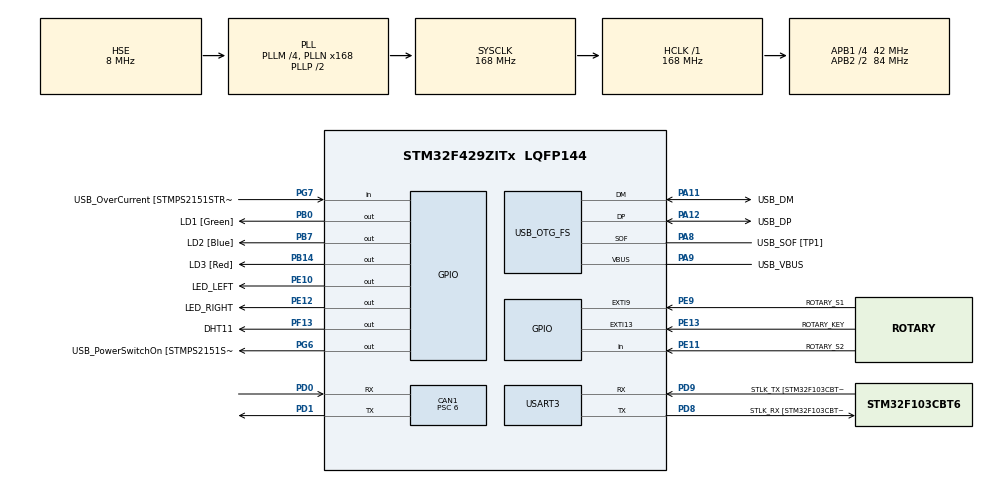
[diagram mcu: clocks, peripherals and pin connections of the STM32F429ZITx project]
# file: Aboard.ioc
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CAN1.ABOM=ENABLE
CAN1.BS1=CAN_BS1_11TQ
CAN1.BS2=CAN_BS2_2TQ
CAN1.CalculateBaudRate=500000
CAN1.CalculateTimeBit=2000
CAN1.CalculateTimeQuantum=142.85714285714286
CAN1.NART=ENABLE
CAN1.Prescaler=6
FREERTOS.Queues01=myCanQueue,16,uint8_t,0,Dynamic,NULL,NULL
FREERTOS.Tasks01=defaultTask,24,128,StartDefaultTask,Default,NULL,Dynamic,NULL,NULL;DhtTask,24,256,StartDhtTask,Default,NULL,Dynamic,NULL,NULL;RotaryTask,24,256,StartRotaryTask,Default,NULL,Dynamic,NULL,NULL;CanTask,8,256,StartCanTask,Default,NULL,Dynamic,NULL,NULL
FREERTOS.configUSE_NEWLIB_REENTRANT=1
Mcu.Family=STM32F4
Mcu.Name=STM32F429ZITx
Mcu.Package=LQFP144
NVIC.CAN1_RX0_IRQn=true\:5\:0\:false\:false\:true\:true\:true\:true\:true
NVIC.EXTI15_10_IRQn=true\:5\:0\:false\:false\:true\:true\:true\:true\:true
NVIC.EXTI9_5_IRQn=true\:5\:0\:false\:false\:true\:true\:true\:true\:true
NVIC.PriorityGroup=NVIC_PRIORITYGROUP_4
NVIC.TIM6_DAC_IRQn=true\:15\:0\:false\:false\:true\:false\:false\:true\:true
NVIC.TimeBase=TIM6_DAC_IRQn
NVIC.TimeBaseIP=TIM6
PA1.GPIO_Label=RMII_REF_CLK [LAN8742A-CZ-TR_REFCLK0]
PA1.Signal=ETH_REF_CLK
PA10.GPIO_Label=USB_ID
PA10.Signal=USB_OTG_FS_ID
PA11.GPIO_Label=USB_DM
PA11.Mode=Device_Only
PA11.Signal=USB_OTG_FS_DM
PA12.GPIO_Label=USB_DP
PA12.Mode=Device_Only
PA12.Signal=USB_OTG_FS_DP
PA13.GPIO_Label=TMS
PA13.Mode=Serial_Wire
PA13.Signal=SYS_JTMS-SWDIO
PA14.GPIO_Label=TCK
PA14.Mode=Serial_Wire
PA14.Signal=SYS_JTCK-SWCLK
PA2.GPIO_Label=RMII_MDIO [LAN8742A-CZ-TR_MDIO]
PA2.Signal=ETH_MDIO
PA7.GPIO_Label=RMII_CRS_DV [LAN8742A-CZ-TR_CRS_DV]
PA7.Signal=ETH_CRS_DV
PA8.GPIO_Label=USB_SOF [TP1]
PA8.Mode=Activate_SOF_FS
PA8.Signal=USB_OTG_FS_SOF
PA9.GPIO_Label=USB_VBUS
PA9.Mode=Activate_VBUS
PA9.Signal=USB_OTG_FS_VBUS
PB0.GPIO_Label=LD1 [Green]
PB0.Signal=GPIO_Output
PB13.GPIO_Label=RMII_TXD1 [LAN8742A-CZ-TR_TXD1]
PB13.Signal=ETH_TXD1
PB14.GPIO_Label=LD3 [Red]
PB14.Signal=GPIO_Output
PB7.GPIO_Label=LD2 [Blue]
PB7.Signal=GPIO_Output
PC1.GPIO_Label=RMII_MDC [LAN8742A-CZ-TR_MDC]
PC1.Signal=ETH_MDC
PC14/OSC32_IN.Mode=LSE-External-Oscillator
PC14/OSC32_IN.Signal=RCC_OSC32_IN
PC15/OSC32_OUT.Mode=LSE-External-Oscillator
PC15/OSC32_OUT.Signal=RCC_OSC32_OUT
PC4.GPIO_Label=RMII_RXD0 [LAN8742A-CZ-TR_RXD0]
PC4.Signal=ETH_RXD0
PC5.GPIO_Label=RMII_RXD1 [LAN8742A-CZ-TR_RXD1]
PC5.Signal=ETH_RXD1
PD0.Mode=CAN_Activate
PD0.Signal=CAN1_RX
PD1.Mode=CAN_Activate
PD1.Signal=CAN1_TX
PD8.GPIO_Label=STLK_RX [STM32F103CBT6_PA3]
PD8.Mode=Asynchronous
PD8.Signal=USART3_TX
PD9.GPIO_Label=STLK_TX [STM32F103CBT6_PA2]
PD9.Mode=Asynchronous
PD9.Signal=USART3_RX
PE10.GPIO_Label=LED_LEFT
PE10.Signal=GPIO_Output
PE11.GPIO_Label=ROTARY_S2
PE11.GPIO_PuPd=GPIO_PULLUP
PE11.Signal=GPIO_Input
PE12.GPIO_Label=LED_RIGHT
PE12.Signal=GPIO_Output
PE13.GPIO_Label=ROTARY_KEY
PE13.GPIO_ModeDefaultEXTI=GPIO_MODE_IT_FALLING
PE13.GPIO_PuPd=GPIO_PULLUP
PE13.Signal=GPXTI13
PE9.GPIO_Label=ROTARY_S1
PE9.GPIO_ModeDefaultEXTI=GPIO_MODE_IT_FALLING
PE9.GPIO_PuPd=GPIO_PULLUP
PE9.Signal=GPXTI9
PF13.GPIO_Label=DHT11
PF13.PinState=GPIO_PIN_SET
PF13.Signal=GPIO_Output
PG11.GPIO_Label=RMII_TX_EN [LAN8742A-CZ-TR_TXEN]
PG11.Signal=ETH_TX_EN
PG13.GPIO_Label=RMII_TXD0 [LAN8742A-CZ-TR_TXD0]
PG13.Signal=ETH_TXD0
PG6.GPIO_Label=USB_PowerSwitchOn [STMPS2151STR_EN]
PG6.Signal=GPIO_Output
PG7.GPIO_Label=USB_OverCurrent [STMPS2151STR_FAULT]
PG7.Signal=GPIO_Input
PH0/OSC_IN.GPIO_Label=MCO [STM32F103CBT6_PA8]
PH0/OSC_IN.Mode=HSE-External-Clock-Source
PH0/OSC_IN.Signal=RCC_OSC_IN
PH1/OSC_OUT.Mode=HSE-External-Clock-Source
PH1/OSC_OUT.Signal=RCC_OSC_OUT
ProjectManager.HeapSize=0x200
ProjectManager.StackSize=0x400
ProjectManager.TargetToolchain=STM32CubeIDE
RCC.48MHZClocksFreq_Value=48000000
RCC.AHBFreq_Value=168000000
RCC.APB1CLKDivider=RCC_HCLK_DIV4
RCC.APB1Freq_Value=42000000
RCC.APB1TimFreq_Value=84000000
RCC.APB2CLKDivider=RCC_HCLK_DIV2
RCC.APB2Freq_Value=84000000
RCC.APB2TimCLKDivider=2
RCC.APB2TimFreq_Value=168000000
RCC.CortexFreq_Value=168000000
RCC.HCLKFreq_Value=168000000
RCC.HSE_VALUE=8000000
RCC.HSI_VALUE=16000000
RCC.PLLM=4
RCC.PLLMUL=RCC_PLL_MUL9
RCC.PLLN=168
RCC.PLLQ=7
RCC.PRESCALERUSB=RCC_USBCLKSOURCE_PLL_DIV1_5
RCC.SYSCLKFreq_VALUE=168000000
RCC.SYSCLKSource=RCC_SYSCLKSOURCE_PLLCLK
RCC.SYSCLKSourceVirtual=RCC_SYSCLKSOURCE_PLLCLK
RCC.USBFreq_Value=48000000
RCC.VCOOutputFreq_Value=336000000
TIM11.AutoReloadPreload=TIM_AUTORELOAD_PRELOAD_ENABLE
TIM11.Prescaler=167
USART3.VirtualMode=VM_ASYNC
USB_OTG_FS.VirtualMode=Device_Only
VP_FREERTOS_VS_CMSIS_V2.Mode=CMSIS_V2
VP_SYS_VS_tim6.Mode=TIM6
VP_TIM11_VS_ClockSourceINT.Mode=Enable_Timer
board=NUCLEO-F429ZI

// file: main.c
/* USER CODE BEGIN Header */
/**
  ******************************************************************************
  * @file           : main.c
  * @brief          : Main program body
  ******************************************************************************
  * @attention
  *
  * Copyright (c) 2026 STMicroelectronics.
  * All rights reserved.
  *
  * This software is licensed under terms that can be found in the LICENSE file
  * in the root directory of this software component.
  * If no LICENSE file comes with this software, it is provided AS-IS.
  *
  ******************************************************************************
  */
/* USER CODE END Header */
#include "main.h"
#include "cmsis_os.h"

/* USER CODE BEGIN Includes */
#include <stdio.h>
#include "dht11.h"
/* USER CODE END Includes */

/* USER CODE BEGIN PD */
#define MODE_IDLE   0
#define MODE_LEFT   1
#define MODE_RIGHT  2
#define MODE_BOTH   3

#define MSG_SRC_ROTARY 1
#define MSG_SRC_DHT    2
/* USER CODE END PD */

CAN_HandleTypeDef hcan1;

TIM_HandleTypeDef htim11;

UART_HandleTypeDef huart3;

PCD_HandleTypeDef hpcd_USB_OTG_FS;

/* Definitions for defaultTask */
osThreadId_t defaultTaskHandle;
const osThreadAttr_t defaultTask_attributes = {
  .name = "defaultTask",
  .stack_size = 128 * 4,
  .priority = (osPriority_t) osPriorityNormal,
};
/* Definitions for DhtTask */
osThreadId_t DhtTaskHandle;
const osThreadAttr_t DhtTask_attributes = {
  .name = "DhtTask",
  .stack_size = 256 * 4,
  .priority = (osPriority_t) osPriorityNormal,
};
/* Definitions for RotaryTask */
osThreadId_t RotaryTaskHandle;
const osThreadAttr_t RotaryTask_attributes = {
  .name = "RotaryTask",
  .stack_size = 256 * 4,
  .priority = (osPriority_t) osPriorityNormal,
};
/* Definitions for CanTask */
osThreadId_t CanTaskHandle;
const osThreadAttr_t CanTask_attributes = {
  .name = "CanTask",
  .stack_size = 256 * 4,
  .priority = (osPriority_t) osPriorityLow,
};
/* Definitions for myCanQueue */
osMessageQueueId_t myCanQueueHandle;
const osMessageQueueAttr_t myCanQueue_attributes = {
  .name = "myCanQueue"
};
/* USER CODE BEGIN PV */
// task 간 데이터 공유
volatile uint8_t g_temp = 0;
volatile uint8_t g_humi = 0;
volatile uint8_t g_led_state = 0;

// 로터리 제어 변수
volatile uint8_t rotary_mode = MODE_IDLE;
volatile uint32_t blink_end_time = 0;
volatile uint32_t last_rotary_time = 0;
/* USER CODE END PV */

void SystemClock_Config(void);
static void MX_GPIO_Init(void);
static void MX_CAN1_Init(void);
static void MX_USART3_UART_Init(void);
static void MX_USB_OTG_FS_PCD_Init(void);
static void MX_TIM11_Init(void);
void StartDefaultTask(void *argument);
void StartDhtTask(void *argument);
void StartRotaryTask(void *argument);
void StartCanTask(void *argument);

/* USER CODE BEGIN PFP */
void CAN_Config_And_Start(void);
void CAN_Tx_Send(uint8_t temp, uint8_t humi, uint8_t led_status);
void delay_us(unsigned long us);
/* USER CODE END PFP */

/* USER CODE BEGIN 0 */
int _write(int file, char *ptr, int len)
{
  HAL_UART_Transmit(&huart3, (uint8_t *)ptr, len, 10);
  return len;
}
/* USER CODE END 0 */

int main(void)
{

  /* MCU Configuration--------------------------------------------------------*/

  /* Reset of all peripherals, Initializes the Flash interface and the Systick. */
  HAL_Init();

  /* Configure the system clock */
  SystemClock_Config();

  /* Initialize all configured peripherals */
  MX_GPIO_Init();
  MX_CAN1_Init();
  MX_USART3_UART_Init();
  MX_USB_OTG_FS_PCD_Init();
  MX_TIM11_Init();
  /* USER CODE BEGIN 2 */
  HAL_TIM_Base_Start(&htim11);

  CAN_Config_And_Start();
  /* USER CODE END 2 */

  /* Init scheduler */
  osKernelInitialize();

  /* Create the queue(s) */
  /* creation of myCanQueue */
  myCanQueueHandle = osMessageQueueNew (16, sizeof(uint8_t), &myCanQueue_attributes);

  /* Create the thread(s) */
  /* creation of defaultTask */
  defaultTaskHandle = osThreadNew(StartDefaultTask, NULL, &defaultTask_attributes);

  /* creation of DhtTask */
  DhtTaskHandle = osThreadNew(StartDhtTask, NULL, &DhtTask_attributes);

  /* creation of RotaryTask */
  RotaryTaskHandle = osThreadNew(StartRotaryTask, NULL, &RotaryTask_attributes);

  /* creation of CanTask */
  CanTaskHandle = osThreadNew(StartCanTask, NULL, &CanTask_attributes);

  /* Start scheduler */
  osKernelStart();

  /* We should never get here as control is now taken by the scheduler */

  /* Infinite loop */
  while (1)
  {

  }
}

void SystemClock_Config(void)
{
  RCC_OscInitTypeDef RCC_OscInitStruct = {0};
  RCC_ClkInitTypeDef RCC_ClkInitStruct = {0};

  /** Configure the main internal regulator output voltage
  */
  __HAL_RCC_PWR_CLK_ENABLE();
  __HAL_PWR_VOLTAGESCALING_CONFIG(PWR_REGULATOR_VOLTAGE_SCALE1);

  /** Initializes the RCC Oscillators according to the specified parameters
  * in the RCC_OscInitTypeDef structure.
  */
  RCC_OscInitStruct.OscillatorType = RCC_OSCILLATORTYPE_HSE;
  RCC_OscInitStruct.HSEState = RCC_HSE_BYPASS;
  RCC_OscInitStruct.PLL.PLLState = RCC_PLL_ON;
  RCC_OscInitStruct.PLL.PLLSource = RCC_PLLSOURCE_HSE;
  RCC_OscInitStruct.PLL.PLLM = 4;
  RCC_OscInitStruct.PLL.PLLN = 168;
  RCC_OscInitStruct.PLL.PLLP = RCC_PLLP_DIV2;
  RCC_OscInitStruct.PLL.PLLQ = 7;
  if (HAL_RCC_OscConfig(&RCC_OscInitStruct) != HAL_OK)
  {
    Error_Handler();
  }

  /** Initializes the CPU, AHB and APB buses clocks
  */
  RCC_ClkInitStruct.ClockType = RCC_CLOCKTYPE_HCLK|RCC_CLOCKTYPE_SYSCLK
                              |RCC_CLOCKTYPE_PCLK1|RCC_CLOCKTYPE_PCLK2;
  RCC_ClkInitStruct.SYSCLKSource = RCC_SYSCLKSOURCE_PLLCLK;
  RCC_ClkInitStruct.AHBCLKDivider = RCC_SYSCLK_DIV1;
  RCC_ClkInitStruct.APB1CLKDivider = RCC_HCLK_DIV4;
  RCC_ClkInitStruct.APB2CLKDivider = RCC_HCLK_DIV2;

  if (HAL_RCC_ClockConfig(&RCC_ClkInitStruct, FLASH_LATENCY_5) != HAL_OK)
  {
    Error_Handler();
  }
}

static void MX_CAN1_Init(void)
{

  hcan1.Instance = CAN1;
  hcan1.Init.Prescaler = 6;
  hcan1.Init.Mode = CAN_MODE_NORMAL;
  hcan1.Init.SyncJumpWidth = CAN_SJW_1TQ;
  hcan1.Init.TimeSeg1 = CAN_BS1_11TQ;
  hcan1.Init.TimeSeg2 = CAN_BS2_2TQ;
  hcan1.Init.TimeTriggeredMode = DISABLE;
  hcan1.Init.AutoBusOff = ENABLE;
  hcan1.Init.AutoWakeUp = DISABLE;
  hcan1.Init.AutoRetransmission = ENABLE;
  hcan1.Init.ReceiveFifoLocked = DISABLE;
  hcan1.Init.TransmitFifoPriority = DISABLE;
  if (HAL_CAN_Init(&hcan1) != HAL_OK)
  {
    Error_Handler();
  }

}

static void MX_TIM11_Init(void)
{

  htim11.Instance = TIM11;
  htim11.Init.Prescaler = 167;
  htim11.Init.CounterMode = TIM_COUNTERMODE_UP;
  htim11.Init.Period = 65535;
  htim11.Init.ClockDivision = TIM_CLOCKDIVISION_DIV1;
  htim11.Init.AutoReloadPreload = TIM_AUTORELOAD_PRELOAD_ENABLE;
  if (HAL_TIM_Base_Init(&htim11) != HAL_OK)
  {
    Error_Handler();
  }

}

static void MX_USART3_UART_Init(void)
{

  huart3.Instance = USART3;
  huart3.Init.BaudRate = 115200;
  huart3.Init.WordLength = UART_WORDLENGTH_8B;
  huart3.Init.StopBits = UART_STOPBITS_1;
  huart3.Init.Parity = UART_PARITY_NONE;
  huart3.Init.Mode = UART_MODE_TX_RX;
  huart3.Init.HwFlowCtl = UART_HWCONTROL_NONE;
  huart3.Init.OverSampling = UART_OVERSAMPLING_16;
  if (HAL_UART_Init(&huart3) != HAL_OK)
  {
    Error_Handler();
  }

}

static void MX_USB_OTG_FS_PCD_Init(void)
{

  hpcd_USB_OTG_FS.Instance = USB_OTG_FS;
  hpcd_USB_OTG_FS.Init.dev_endpoints = 4;
  hpcd_USB_OTG_FS.Init.speed = PCD_SPEED_FULL;
  hpcd_USB_OTG_FS.Init.dma_enable = DISABLE;
  hpcd_USB_OTG_FS.Init.phy_itface = PCD_PHY_EMBEDDED;
  hpcd_USB_OTG_FS.Init.Sof_enable = ENABLE;
  hpcd_USB_OTG_FS.Init.low_power_enable = DISABLE;
  hpcd_USB_OTG_FS.Init.lpm_enable = DISABLE;
  hpcd_USB_OTG_FS.Init.vbus_sensing_enable = ENABLE;
  hpcd_USB_OTG_FS.Init.use_dedicated_ep1 = DISABLE;
  if (HAL_PCD_Init(&hpcd_USB_OTG_FS) != HAL_OK)
  {
    Error_Handler();
  }

}

static void MX_GPIO_Init(void)
{
  GPIO_InitTypeDef GPIO_InitStruct = {0};

  /* GPIO Ports Clock Enable */
  __HAL_RCC_GPIOC_CLK_ENABLE();
  __HAL_RCC_GPIOH_CLK_ENABLE();
  __HAL_RCC_GPIOA_CLK_ENABLE();
  __HAL_RCC_GPIOB_CLK_ENABLE();
  __HAL_RCC_GPIOF_CLK_ENABLE();
  __HAL_RCC_GPIOE_CLK_ENABLE();
  __HAL_RCC_GPIOD_CLK_ENABLE();
  __HAL_RCC_GPIOG_CLK_ENABLE();

  /*Configure GPIO pin Output Level */
  HAL_GPIO_WritePin(GPIOB, LD1_Pin|LD3_Pin|LD2_Pin, GPIO_PIN_RESET);

  /*Configure GPIO pin Output Level */
  HAL_GPIO_WritePin(DHT11_GPIO_Port, DHT11_Pin, GPIO_PIN_SET);

  /*Configure GPIO pin Output Level */
  HAL_GPIO_WritePin(GPIOE, LED_LEFT_Pin|LED_RIGHT_Pin, GPIO_PIN_RESET);

  /*Configure GPIO pin Output Level */
  HAL_GPIO_WritePin(USB_PowerSwitchOn_GPIO_Port, USB_PowerSwitchOn_Pin, GPIO_PIN_RESET);

  /*Configure GPIO pins : RMII_MDC_Pin RMII_RXD0_Pin RMII_RXD1_Pin */
  GPIO_InitStruct.Pin = RMII_MDC_Pin|RMII_RXD0_Pin|RMII_RXD1_Pin;
  GPIO_InitStruct.Mode = GPIO_MODE_AF_PP;
  GPIO_InitStruct.Pull = GPIO_NOPULL;
  GPIO_InitStruct.Speed = GPIO_SPEED_FREQ_VERY_HIGH;
  GPIO_InitStruct.Alternate = GPIO_AF11_ETH;
  HAL_GPIO_Init(GPIOC, &GPIO_InitStruct);

  /*Configure GPIO pins : RMII_REF_CLK_Pin RMII_MDIO_Pin RMII_CRS_DV_Pin */
  GPIO_InitStruct.Pin = RMII_REF_CLK_Pin|RMII_MDIO_Pin|RMII_CRS_DV_Pin;
  GPIO_InitStruct.Mode = GPIO_MODE_AF_PP;
  GPIO_InitStruct.Pull = GPIO_NOPULL;
  GPIO_InitStruct.Speed = GPIO_SPEED_FREQ_VERY_HIGH;
  GPIO_InitStruct.Alternate = GPIO_AF11_ETH;
  HAL_GPIO_Init(GPIOA, &GPIO_InitStruct);

  /*Configure GPIO pins : LD1_Pin LD3_Pin LD2_Pin */
  GPIO_InitStruct.Pin = LD1_Pin|LD3_Pin|LD2_Pin;
  GPIO_InitStruct.Mode = GPIO_MODE_OUTPUT_PP;
  GPIO_InitStruct.Pull = GPIO_NOPULL;
  GPIO_InitStruct.Speed = GPIO_SPEED_FREQ_LOW;
  HAL_GPIO_Init(GPIOB, &GPIO_InitStruct);

  /*Configure GPIO pin : DHT11_Pin */
  GPIO_InitStruct.Pin = DHT11_Pin;
  GPIO_InitStruct.Mode = GPIO_MODE_OUTPUT_PP;
  GPIO_InitStruct.Pull = GPIO_NOPULL;
  GPIO_InitStruct.Speed = GPIO_SPEED_FREQ_LOW;
  HAL_GPIO_Init(DHT11_GPIO_Port, &GPIO_InitStruct);

  /*Configure GPIO pins : ROTARY_S1_Pin ROTARY_KEY_Pin */
  GPIO_InitStruct.Pin = ROTARY_S1_Pin|ROTARY_KEY_Pin;
  GPIO_InitStruct.Mode = GPIO_MODE_IT_FALLING;
  GPIO_InitStruct.Pull = GPIO_PULLUP;
  HAL_GPIO_Init(GPIOE, &GPIO_InitStruct);

  /*Configure GPIO pins : LED_LEFT_Pin LED_RIGHT_Pin */
  GPIO_InitStruct.Pin = LED_LEFT_Pin|LED_RIGHT_Pin;
  GPIO_InitStruct.Mode = GPIO_MODE_OUTPUT_PP;
  GPIO_InitStruct.Pull = GPIO_NOPULL;
  GPIO_InitStruct.Speed = GPIO_SPEED_FREQ_LOW;
  HAL_GPIO_Init(GPIOE, &GPIO_InitStruct);

  /*Configure GPIO pin : ROTARY_S2_Pin */
  GPIO_InitStruct.Pin = ROTARY_S2_Pin;
  GPIO_InitStruct.Mode = GPIO_MODE_INPUT;
  GPIO_InitStruct.Pull = GPIO_PULLUP;
  HAL_GPIO_Init(ROTARY_S2_GPIO_Port, &GPIO_InitStruct);

  /*Configure GPIO pin : RMII_TXD1_Pin */
  GPIO_InitStruct.Pin = RMII_TXD1_Pin;
  GPIO_InitStruct.Mode = GPIO_MODE_AF_PP;
  GPIO_InitStruct.Pull = GPIO_NOPULL;
  GPIO_InitStruct.Speed = GPIO_SPEED_FREQ_VERY_HIGH;
  GPIO_InitStruct.Alternate = GPIO_AF11_ETH;
  HAL_GPIO_Init(RMII_TXD1_GPIO_Port, &GPIO_InitStruct);

  /*Configure GPIO pin : USB_PowerSwitchOn_Pin */
  GPIO_InitStruct.Pin = USB_PowerSwitchOn_Pin;
  GPIO_InitStruct.Mode = GPIO_MODE_OUTPUT_PP;
  GPIO_InitStruct.Pull = GPIO_NOPULL;
  GPIO_InitStruct.Speed = GPIO_SPEED_FREQ_LOW;
  HAL_GPIO_Init(USB_PowerSwitchOn_GPIO_Port, &GPIO_InitStruct);

  /*Configure GPIO pin : USB_OverCurrent_Pin */
  GPIO_InitStruct.Pin = USB_OverCurrent_Pin;
  GPIO_InitStruct.Mode = GPIO_MODE_INPUT;
  GPIO_InitStruct.Pull = GPIO_NOPULL;
  HAL_GPIO_Init(USB_OverCurrent_GPIO_Port, &GPIO_InitStruct);

  /*Configure GPIO pins : RMII_TX_EN_Pin RMII_TXD0_Pin */
  GPIO_InitStruct.Pin = RMII_TX_EN_Pin|RMII_TXD0_Pin;
  GPIO_InitStruct.Mode = GPIO_MODE_AF_PP;
  GPIO_InitStruct.Pull = GPIO_NOPULL;
  GPIO_InitStruct.Speed = GPIO_SPEED_FREQ_VERY_HIGH;
  GPIO_InitStruct.Alternate = GPIO_AF11_ETH;
  HAL_GPIO_Init(GPIOG, &GPIO_InitStruct);

  /* EXTI interrupt init*/
  HAL_NVIC_SetPriority(EXTI9_5_IRQn, 5, 0);
  HAL_NVIC_EnableIRQ(EXTI9_5_IRQn);

  HAL_NVIC_SetPriority(EXTI15_10_IRQn, 5, 0);
  HAL_NVIC_EnableIRQ(EXTI15_10_IRQn);

}

/* USER CODE BEGIN 4 */
void HAL_GPIO_EXTI_Callback(uint16_t GPIO_Pin)
{
    uint32_t current_time = HAL_GetTick();
    if (current_time - last_rotary_time < 50) return;
    last_rotary_time = current_time;

    // 회전 (PE9)
    if (GPIO_Pin == ROTARY_S1_Pin)
    {
        if (HAL_GPIO_ReadPin(GPIOE, ROTARY_S2_Pin) == GPIO_PIN_SET)
            rotary_mode = MODE_LEFT;
        else
            rotary_mode = MODE_RIGHT;
        blink_end_time = current_time + 5000;
    }
    // 버튼 (PE13)
    if (GPIO_Pin == ROTARY_KEY_Pin)
    {
        rotary_mode = MODE_BOTH;
        blink_end_time = current_time + 5000;
    }
}

// 마이크로초 딜레이 함수
void delay_us(unsigned long us)
{
    __HAL_TIM_SET_COUNTER(&htim11, 0);  // 카운터 0으로 리셋
    while (__HAL_TIM_GET_COUNTER(&htim11) < us);  // us만큼 기다림
}

void CAN_Config_And_Start(void)
{
    CAN_FilterTypeDef canFilter;

    canFilter.FilterBank = 0;
    canFilter.FilterMode = CAN_FILTERMODE_IDMASK;
    canFilter.FilterScale = CAN_FILTERSCALE_32BIT;
    canFilter.FilterIdHigh = 0x0000;
    canFilter.FilterIdLow = 0x0000;
    canFilter.FilterMaskIdHigh = 0x0000;
    canFilter.FilterMaskIdLow = 0x0000;
    canFilter.FilterFIFOAssignment = CAN_RX_FIFO0;
    canFilter.FilterActivation = ENABLE;
    canFilter.SlaveStartFilterBank = 14;

    // 필터 설정
    if (HAL_CAN_ConfigFilter(&hcan1, &canFilter) != HAL_OK)
    {
        Error_Handler();
    }

    // CAN 시작 (필수)
    if (HAL_CAN_Start(&hcan1) != HAL_OK)
    {
        Error_Handler();
    }
}

void CAN_Tx_Send(uint8_t temp, uint8_t humi, uint8_t led_status)
{
    CAN_TxHeaderTypeDef txHeader;
    uint32_t txMailbox;
    uint8_t txData[8] = {0};

    txHeader.StdId = 0x101;
    txHeader.RTR = CAN_RTR_DATA;
    txHeader.IDE = CAN_ID_STD;
    txHeader.DLC = 3;

    txData[0] = temp;
    txData[1] = humi;
    txData[2] = led_status;

    if (HAL_CAN_GetTxMailboxesFreeLevel(&hcan1) > 0) {
        HAL_CAN_AddTxMessage(&hcan1, &txHeader, txData, &txMailbox);
    }
}

// [하인 1] DHT11 센서 읽는 함수
void Task_Read_Sensor(uint8_t *t, uint8_t *h) {
    static uint32_t last_read = 0;
    if (HAL_GetTick() - last_read > 2000) {
        dht11_read_data(t, h);
        last_read = HAL_GetTick();
    }
}

/* USER CODE END 4 */

void StartDefaultTask(void *argument)
{
  /* USER CODE BEGIN 5 */
  /* Infinite loop */
  for(;;)
  {
	  osDelay(1000); // 1초마다 깜빡임 (동작 확인용)
	  HAL_GPIO_TogglePin(GPIOB, LD1_Pin); // LD1 깜빡임
  }
  /* USER CODE END 5 */
}

void StartDhtTask(void *argument)
{
  /* USER CODE BEGIN StartDhtTask */
  uint8_t t = 0, h = 0;
  uint8_t msg = MSG_SRC_DHT;
  /* Infinite loop */
  for(;;)
  {
	  int res = dht11_read_data(&t, &h);

	  if (res == 0) {
		  g_temp = t;
		  g_humi = h;
		  osMessageQueuePut(myCanQueueHandle, &msg, 0, 0);
	  }
	  osDelay(2000);
  }
  /* USER CODE END StartDhtTask */
}

void StartRotaryTask(void *argument)
{
  /* USER CODE BEGIN StartRotaryTask */
  uint32_t last_toggle = 0;
  uint8_t msg = MSG_SRC_ROTARY;

  HAL_GPIO_WritePin(GPIOE, LED_LEFT_Pin|LED_RIGHT_Pin, 0);
  /* Infinite loop */
  for(;;)
  {
	  uint32_t now = HAL_GetTick();
	  // 깜빡임 시간이 유효할 때
	  if (now < blink_end_time) {
		  HAL_GPIO_TogglePin(GPIOB, LD3_Pin);
		  osDelay(300);
		  if (now - last_toggle > 500) {
			  last_toggle = now;

			  // LED 토글
			  switch(rotary_mode) {
			  case MODE_LEFT:
				  HAL_GPIO_TogglePin(GPIOE, LED_LEFT_Pin);
				  HAL_GPIO_WritePin(GPIOE, LED_RIGHT_Pin, 0);
				  break;
			  case MODE_RIGHT:
				  HAL_GPIO_TogglePin(GPIOE, LED_RIGHT_Pin);
				  HAL_GPIO_WritePin(GPIOE, LED_LEFT_Pin, 0);
				  break;
			  case MODE_BOTH:
				  HAL_GPIO_TogglePin(GPIOE, LED_LEFT_Pin|LED_RIGHT_Pin);
				  break;
			  }

			  // ★ 전역 변수 업데이트 (CAN 태스크가 읽어갈 값)
			  g_led_state = HAL_GPIO_ReadPin(GPIOE, LED_LEFT_Pin); // 켜져있으면 1

			  // ★ "야, LED 상태 바꼈어! 전송해!" (큐에 쪽지 넣기)
			  osMessageQueuePut(myCanQueueHandle, &msg, 0, 0);
		  }
	  } else {
		  // 시간이 다 되면 끄기
		  if (rotary_mode != MODE_IDLE) {
			  HAL_GPIO_WritePin(GPIOE, LED_LEFT_Pin|LED_RIGHT_Pin, 0);
			  rotary_mode = MODE_IDLE;
			  g_led_state = 0;
			  // 꺼졌다는 것도 한번 전송
			  osMessageQueuePut(myCanQueueHandle, &msg, 0, 0);
		  }
	  }

	  osDelay(10);
  }
  /* USER CODE END StartRotaryTask */
}

void StartCanTask(void *argument)
{
  /* USER CODE BEGIN StartCanTask */
  uint8_t received_msg;
  /* Infinite loop */
  for(;;)
  {
	  if (osMessageQueueGet(myCanQueueHandle, &received_msg, NULL, osWaitForever) == osOK)
	  {
		  // 큐에서 깨어나면, 현재 전역 변수에 있는 최신 값들을 모아서 발사!
		  CAN_Tx_Send(g_temp, g_humi, g_led_state);
		  printf("%d, %d, %d", g_temp, g_humi, g_led_state);

		  // 전송했음을 알리는 LED 토글 (LD2: 파랑)
		  HAL_GPIO_TogglePin(GPIOB, LD2_Pin);
	  }
  }
  /* USER CODE END StartCanTask */
}

void HAL_TIM_PeriodElapsedCallback(TIM_HandleTypeDef *htim)
{
  if (htim->Instance == TIM6)
  {
    HAL_IncTick();
  }
}

void Error_Handler(void)
{
  __disable_irq();
  while (1)
  {
  }
}
